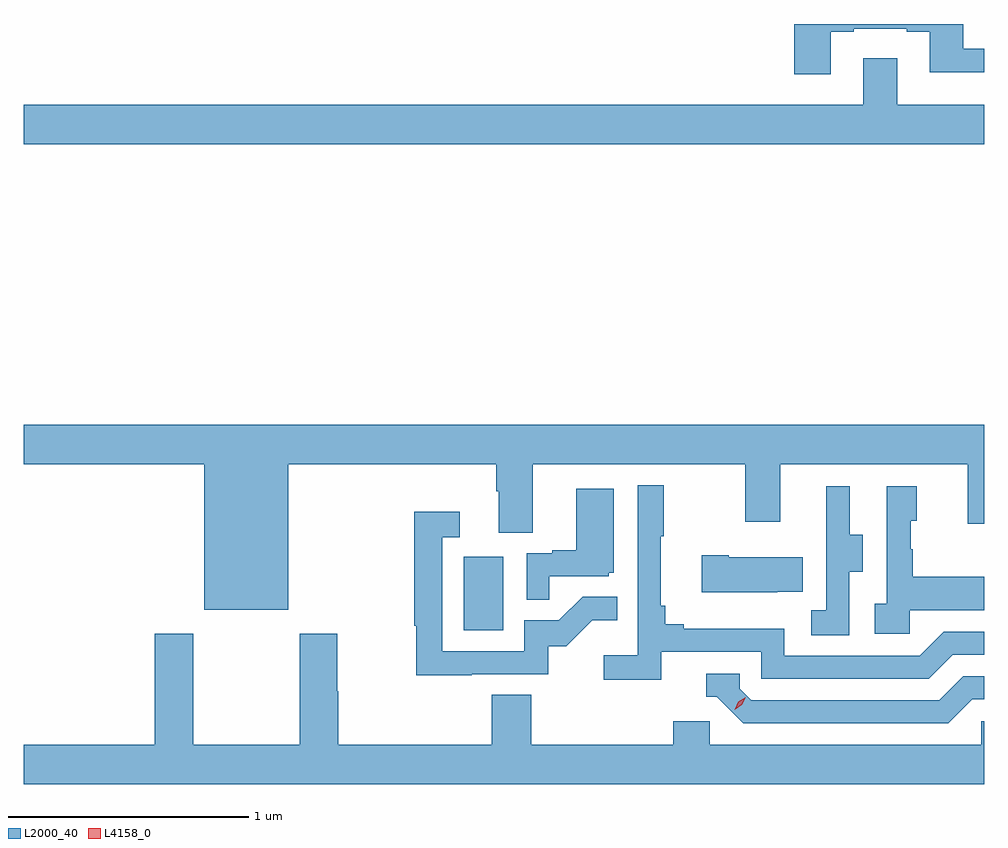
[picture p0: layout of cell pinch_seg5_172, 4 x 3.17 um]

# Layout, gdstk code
import gdstk
lib = gdstk.Library(unit=1e-6, precision=1e-09)
def R(c, l, rs):  # rectangles x0, y0, x1, y1
    for r in rs: c.add(gdstk.rectangle(r[:2], r[2:], *l))
def P(c, l, *ps):  # polygons
    for p in ps: c.add(gdstk.Polygon(p, *l))
L2000_40 = (2000, 40)
L4158_0 = (4158, 0)

pinch_seg5_172 = lib.new_cell('pinch_seg5_172')
R(pinch_seg5_172, L2000_40, [(1131.02,890.7,1131.184,891.007)])
P(pinch_seg5_172, L2000_40, [(1132.549,893.193),(1132.645,893.193),(1132.645,893.205),(1132.865,893.205),(1132.865,893.193),(1132.961,893.193),(1132.961,893.024),(1133.188,893.024),(1133.188,893.121),(1133.101,893.121),(1133.101,893.225),(1132.397,893.225),(1132.397,893.016),(1132.549,893.016)],
  [(1133.188,892.888),(1132.825,892.888),(1132.825,893.083),(1132.685,893.083),(1132.685,892.888),(1129.188,892.888),(1129.188,892.724),(1133.188,892.724)],
  [(1130.29,891.392),(1131.155,891.392),(1131.155,891.28),(1131.167,891.28),(1131.167,891.106),(1131.307,891.106),(1131.307,891.392),(1132.192,891.392),(1132.192,891.153),(1132.339,891.153),(1132.339,891.392),(1133.12,891.392),(1133.12,891.144),(1133.188,891.144),(1133.188,891.556),(1129.188,891.556),(1129.188,891.392),(1129.94,891.392),(1129.94,890.786),(1130.29,890.786)],
  [(1131.842,890.61),(1132.26,890.61),(1132.26,890.499),(1132.957,890.499),(1133.056,890.598),(1133.188,890.598),(1133.188,890.694),(1133.019,890.694),(1132.92,890.595),(1132.356,890.595),(1132.356,890.707),(1131.937,890.707),(1131.937,890.726),(1131.86,890.726),(1131.86,890.803),(1131.841,890.803),(1131.841,891.091),(1131.853,891.091),(1131.853,891.304),(1131.744,891.304),(1131.744,890.596),(1131.603,890.596),(1131.603,890.494),(1131.842,890.494)],
  [(1132.626,890.944),(1132.681,890.944),(1132.681,891.099),(1132.627,891.099),(1132.627,891.301),(1132.529,891.301),(1132.529,891.087),(1132.53,891.087),(1132.53,890.783),(1132.467,890.783),(1132.467,890.68),(1132.626,890.68)],
  [(1132.878,890.783),(1133.188,890.783),(1133.188,890.923),(1132.891,890.923),(1132.891,891.038),(1132.881,891.038),(1132.881,891.156),(1132.906,891.156),(1132.906,891.301),(1132.782,891.301),(1132.782,890.81),(1132.731,890.81),(1132.731,890.685),(1132.878,890.685)],
  [(1131.377,890.925),(1131.624,890.925),(1131.624,890.94),(1131.646,890.94),(1131.646,891.289),(1131.488,891.289),(1131.488,891.034),(1131.389,891.034),(1131.389,891.021),(1131.282,891.021),(1131.282,890.827),(1131.377,890.827)],
  [(1131.053,890.517),(1131.372,890.517),(1131.372,890.634),(1131.448,890.634),(1131.555,890.741),(1131.659,890.741),(1131.659,890.84),(1131.515,890.84),(1131.417,890.742),(1131.273,890.742),(1131.273,890.613),(1130.931,890.613),(1130.931,891.087),(1131.004,891.087),(1131.004,891.193),(1130.815,891.193),(1130.815,890.72),(1130.823,890.72),(1130.823,890.512),(1131.053,890.512)],
  [(1132.325,890.861),(1132.433,890.861),(1132.433,891.004),(1132.123,891.004),(1132.123,891.012),(1132.011,891.012),(1132.011,890.858),(1132.325,890.858)],
  [(1133.188,890.322),(1133.175,890.322),(1133.175,890.224),(1132.044,890.224),(1132.044,890.322),(1131.893,890.322),(1131.893,890.224),(1131.302,890.224),(1131.302,890.432),(1131.137,890.432),(1131.137,890.224),(1130.498,890.224),(1130.498,890.447),(1130.493,890.447),(1130.493,890.686),(1130.338,890.686),(1130.338,890.224),(1129.893,890.224),(1129.893,890.686),(1129.733,890.686),(1129.733,890.224),(1129.188,890.224),(1129.188,890.06),(1133.188,890.06)],
  [(1133.137,890.412),(1133.188,890.412),(1133.188,890.508),(1133.1,890.508),(1133.001,890.409),(1132.218,890.409),(1132.17,890.457),(1132.17,890.52),(1132.031,890.52),(1132.031,890.424),(1132.074,890.424),(1132.185,890.313),(1133.038,890.313)])
P(pinch_seg5_172, L4158_0, [(1132.148,890.37),(1132.148,890.37),(1132.164,890.403),(1132.194,890.422),(1132.195,890.422),(1132.195,890.422),(1132.179,890.389),(1132.148,890.37)])

lib.write_gds('pinch_seg5_172.gds')
